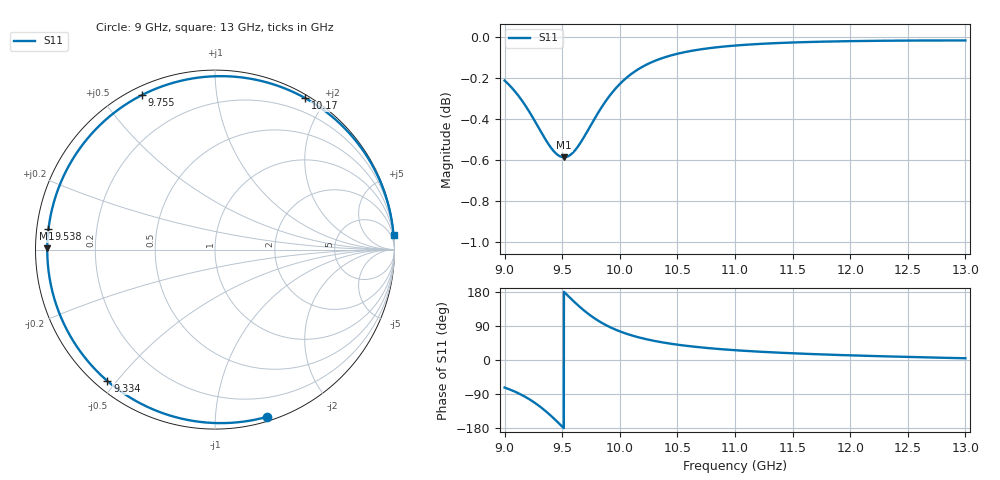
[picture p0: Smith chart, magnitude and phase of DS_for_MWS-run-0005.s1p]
! TOUCHSTONE file generated by CST DESIGN STUDIO
! Date and time: Tue Feb  4 18:07:14 2025
! Project name: C:\Work\MatlabApps\UnitCellOptimizationMatlab\CST\unitcell.cst
! Tree item: Tasks\Sweep1\SPara1\S-Parameters
! Header version: 2024
! Port assignment regex: !\s*Touchstone port\s*([0-9]+)\s*=\s*(CST MWS port|CST DES external port|CST DES block port)\s*(.+)\s* \(\"(.*)\"\)(\s*mode\s*([0-9]+))?.*
! Touchstone port assignment:
! Touchstone port 1 = CST DES external port 1 ("")
# GHz S MA R 50
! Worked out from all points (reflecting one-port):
!   4001 points, 9 GHz to 13 GHz, reference 50 ohm
!   lowest |S11| = -0.6 dB at 9.516 GHz (marker M1), VSWR 29.62, Z = 1.69 + j0.183 ohm
!   phase of S11 starts at -73 deg and turns -283 deg over the sweep
!   S11 on the Smith chart (normalised r, x): 9 GHz: 0.03, -1.36; 9.334 GHz: 0.03, -0.47; 9.538 GHz: 0.03, +0.06; 9.755 GHz: 0.03, +0.63; 10.17 GHz: 0.04, +1.76; 13 GHz: 1, +25
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9  0.9757 -72.7
9.09  0.9698 -83.6
9.194  0.9608 -99.8
9.267  0.9534 -114.0
9.334  0.9462 -129.3
9.379  0.9418 -140.9
9.425  0.938 -153.6
9.463  0.9359 -164.6
9.5  0.9348 -175.6
9.516  0.9347 179.6
9.538  0.9349 173.0
9.592  0.9371 157.0
9.652  0.9417 140.3
9.703  0.9468 127.3
9.755  0.9523 115.3
9.806  0.9577 104.9
9.861  0.963 95.1
10  0.9738 75.6
10.082  0.9784 66.9
10.171  0.9823 59.2
10.321  0.9869 49.2
10.5  0.9904 40.5
10.722  0.9931 32.7
11  0.995 25.9
11.5  0.9967 17.7
12  0.9975 12.3
12.5  0.9978 8.1
13  0.9978 4.6
